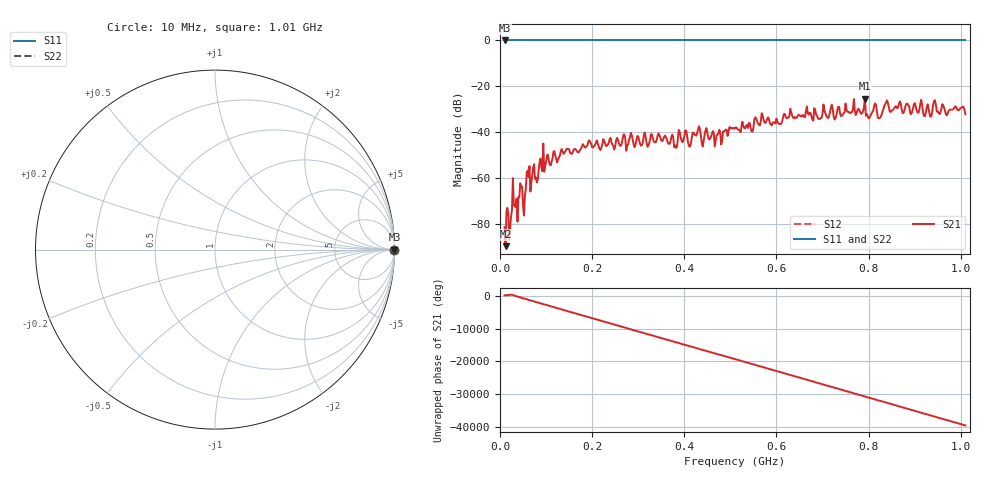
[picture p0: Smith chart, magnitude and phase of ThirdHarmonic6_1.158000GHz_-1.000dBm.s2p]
! 8/16/2025 11:35:00 AM
! C:\ANRITSUVNA\TEMP\TEMP.S2P
! CHANNEL.1
! TR.MEASUREMENT
! RAW.DATA
! RF.CORRECTION.OFF
! AVERAGING.OFF
! IF.BANDWIDTH: 5KHZ
! SWEEPTYPE:  FREQ.SWEEP(Linear)
! Reference Plane Port Info
! PORT:  PORT1  PORT2
! DISTANCE:  0  m  0  m
! TIME:  0  s  0  s
! PHASE.OFFSET:  0  deg.  0  deg.
! LOSS:  0  dB  0  dB
! REF.LOSS:  0  dB  0  dB
! REF.FREQ:  0  Hz  0  Hz
! Power Info
! POWER:  -20  dBm  -20  dBm
! EFF.POWER:  -20  dBm  -20  dBm
! SOURCE.ATTEN:  0  dB  0  dB
! TEST.ATTEN:  0  dB  0  dB
# GHZ S RI R 50.0
! FREQ.GHZ  S11RE  S11IM  S21RE  S21IM  S12RE  S12IM  S22RE  S22IM
!; PortSelection: Port_12
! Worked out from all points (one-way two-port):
!   501 points, 10 MHz to 1.01 GHz, reference 50 ohm
!   highest |S21| = -25.33 dB at 792 MHz (marker M1); lowest = -89.7 dB at 12 MHz (marker M2)
!   lowest |S11| = 0.0 dB at 10 MHz (marker M3)
!   |S11| at or under -10 dB: nowhere
!   |S22| runs from 0.0 to 0.0 dB; largest |S21 - S12| = 1
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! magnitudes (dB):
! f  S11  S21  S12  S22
! 10 MHz  0.0  -81.4  0.0  0.0
! 12 MHz  0.0  -89.7  0.0  0.0
! 32 MHz  0.0  -71.9  0.0  0.0
! 38 MHz  0.0  -79.0  0.0  0.0
! 44 MHz  0.0  -62.3  0.0  0.0
! 52 MHz  0.0  -76.4  0.0  0.0
! 60 MHz  0.0  -56.8  0.0  0.0
! 80 MHz  0.0  -62.0  0.0  0.0
! 90 MHz  0.0  -55.5  0.0  0.0
! 178 MHz  0.0  -46.0  0.0  0.0
! 344 MHz  0.0  -40.6  0.0  0.0
! 382 MHz  0.0  -46.9  0.0  0.0
! 390 MHz  0.0  -39.8  0.0  0.0
! 412 MHz  0.0  -46.4  0.0  0.0
! 430 MHz  0.0  -38.7  0.0  0.0
! 440 MHz  0.0  -46.3  0.0  0.0
! 510 MHz  0.0  -38.2  0.0  0.0
! 678 MHz  0.0  -34.5  0.0  0.0
! 792 MHz  0.0  -25.3  0.0  0.0
! 824 MHz  0.0  -33.8  0.0  0.0
! 844 MHz  0.0  -29.4  0.0  0.0
! 1.01 GHz  0.0  -32.2  0.0  0.0
